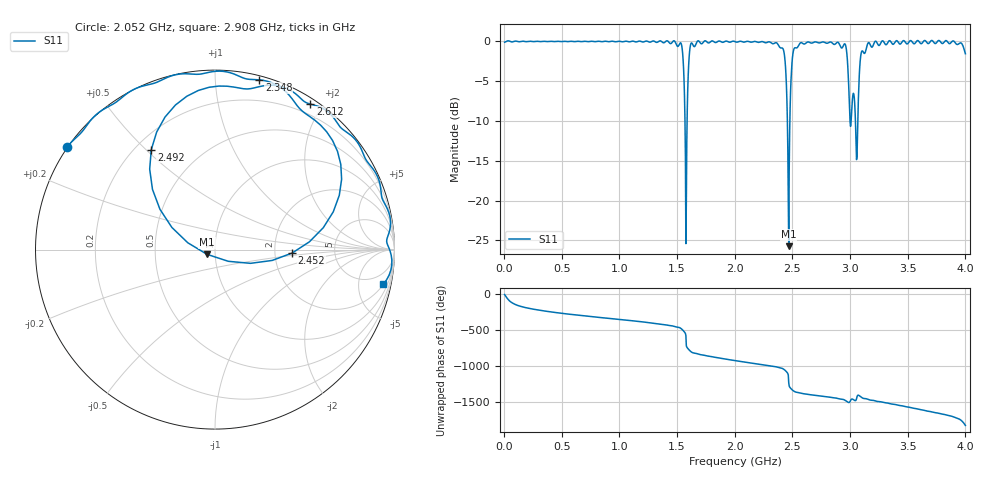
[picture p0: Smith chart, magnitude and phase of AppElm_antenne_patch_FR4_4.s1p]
! TOUCHSTONE file generated by CST MICROWAVE STUDIO
! Date and time: Tue Jun 14 12:12:45 2022
! Project name: AppElm_antenne_patch_FR4.cst
! Parameters = {L=45; W=58.5; e=0.035; h=1.6; lambda=0.190476; ls=120; w0=2.286; w1=0.847; ws=120; y0=18; y1=23.8}
! Header version: 2018
! Port assignment regex: !\s*Touchstone port\s*([0-9]+)\s*=\s*(CST MWS port|CST DS port)\s*([0-9]+|Zmin|Zmax)\s*\(\"(.*)\"\)(\s*mode\s*([0-9]+))?.*
! Touchstone port assignment:
! Touchstone port 1 = CST MWS port 1 ("")
# GHz S MA R 50
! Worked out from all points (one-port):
!   1000 points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, 4 MHz to 4 GHz, reference 50 ohm
!   lowest |S11| = -25.7 dB at 2.468 GHz (marker M1), VSWR 1.11, Z = 45.7 - j2.41 ohm
!   |S11| at or under -10 dB: 1.568 GHz to 1.587 GHz (18.43 MHz wide, 1.17 % of centre); 2.456 GHz to 2.478 GHz (21.6 MHz wide, 0.876 % of centre); 3.046 GHz to 3.067 GHz (20.72 MHz wide, 0.678 % of centre)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
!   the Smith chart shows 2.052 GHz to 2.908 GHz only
!   S11 on the Smith chart (normalised r, x): 2.052 GHz: -0.00, +0.31; 2.348 GHz: 0.03, +1.29; 2.452 GHz: 2.50, -0.12; 2.492 GHz: 0.26, +0.52; 2.612 GHz: 0.07, +1.85; 2.908 GHz: 2.04, -9.49
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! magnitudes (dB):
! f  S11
! 4 MHz  -0.1
! 504 MHz  0.0
! 1.004 GHz  0.0
! 1.504 GHz  -0.6
! 1.54 GHz  -0.5
! 1.564 GHz  -6.9
! 1.576 GHz  -25.4
! 1.592 GHz  -6.1
! 1.608 GHz  -1.3
! 1.628 GHz  -0.2
! 2.004 GHz  0.0
! 2.052 GHz  0.0
! 2.348 GHz  -0.2
! 2.424 GHz  -1.2
! 2.452 GHz  -7.3
! 2.468 GHz  -25.7
! 2.48 GHz  -8.4
! 2.492 GHz  -3.6
! 2.504 GHz  -1.6
! 2.612 GHz  -0.3
! 2.908 GHz  -0.4
! 2.96 GHz  -0.4
! 3.004 GHz  -10.7
! 3.056 GHz  -14.9
! 3.096 GHz  -1.5
! 3.156 GHz  -0.2
! 3.504 GHz  -0.2
! 4 GHz  -1.5
